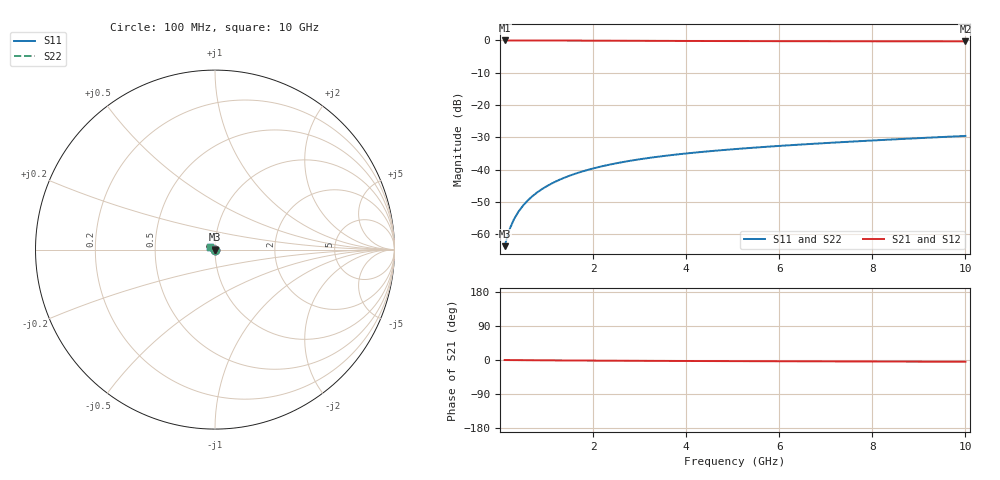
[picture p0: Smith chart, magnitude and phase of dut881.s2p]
! Touchstone file exported from HFSS 2024.1.0
!  File:  C:/UserFiles/LocalFiles/RDL_TSV_Batchsim/temp_TSV1_881_1779883829.aedt
!  Generated:  08:18:26 PM May 27, 2026
!  Design:  TSV1
!  Project:  temp_TSV1_881_1779883829
!  Setup:  Setup1
!  Solution:  Sweep
! Variables:
!  dtsv = 6.04um
!  hbump = 3um
!  htsv = 67.23um
!  lrdl = 252.1521522um
!  p = 40
!  p1 = 48.09um
!  t = 500um
!  trdl = 3um
!  wrdl = 24.89489489um
# GHz S MA R 50.000000
! Terminal data exported
! Port[1] = TSV22_T1
! Port[2] = TSV22_T2
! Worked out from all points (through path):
!   100 points, 100 MHz to 10 GHz, reference 50 ohm
!   highest |S21| = 0.00 dB at 100 MHz (marker M1); lowest = -0.3 dB at 10 GHz (marker M2)
!   lowest |S11| = -63.6 dB at 100 MHz (marker M3), VSWR 1.00, Z = 50 - j0.0573 ohm
!   |S11| at or under -10 dB: start of sweep to end of sweep
!   |S22| runs from -63.6 to -29.5 dB; largest |S21 - S12| = 2.4e-15
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0.1  0.0006592 -60.2  0.9996 -0.1  0.9996 -0.1  0.0006592 -60.2
! Gamma 0 0 0 0
! Port Impedance 50 0 50 0
0.2  0.001171 -77.2  0.9996 -0.2  0.9996 -0.2  0.001171 -77.2
0.3  0.001714 -85.1  0.9994 -0.3  0.9994 -0.3  0.001714 -85.1
0.4  0.002265 -90.2  0.9993 -0.4  0.9993 -0.4  0.002265 -90.2
0.5  0.002818 -94.1  0.9991 -0.4  0.9991 -0.4  0.002818 -94.1
0.6  0.003372 -97.4  0.9988 -0.5  0.9988 -0.5  0.003372 -97.4
0.7  0.003923 -100.4  0.9985 -0.6  0.9985 -0.6  0.003923 -100.4
0.8  0.004471 -103.1  0.9982 -0.7  0.9982 -0.7  0.004471 -103.1
0.9  0.005013 -105.7  0.9979 -0.8  0.9979 -0.8  0.005013 -105.7
1.1  0.00608 -110.4  0.9971 -1.0  0.9971 -1.0  0.00608 -110.4
1.4  0.007624 -117.0  0.9957 -1.2  0.9957 -1.2  0.007624 -117.0
1.6  0.008611 -121.2  0.9947 -1.3  0.9947 -1.3  0.008611 -121.2
1.8  0.009564 -125.2  0.9936 -1.5  0.9936 -1.5  0.009564 -125.2
2.1  0.01092 -130.9  0.992 -1.7  0.992 -1.7  0.01092 -130.9
2.5  0.01261 -138.1  0.9897 -1.9  0.9897 -1.9  0.01261 -138.1
2.9  0.01417 -144.7  0.9874 -2.1  0.9874 -2.1  0.01417 -144.7
3.4  0.01594 -152.4  0.9848 -2.3  0.9848 -2.3  0.01594 -152.4
4.2  0.01848 -163.4  0.9809 -2.7  0.9809 -2.7  0.01848 -163.4
5.1  0.02103 -173.9  0.9774 -3.0  0.9774 -3.0  0.02103 -173.9
6.7  0.02516 170.9  0.9728 -3.5  0.9728 -3.5  0.02515 170.9
8.4  0.02937 158.5  0.9695 -4.1  0.9695 -4.1  0.02937 158.5
10  0.03339 149.3  0.9673 -4.6  0.9673 -4.6  0.03339 149.3
